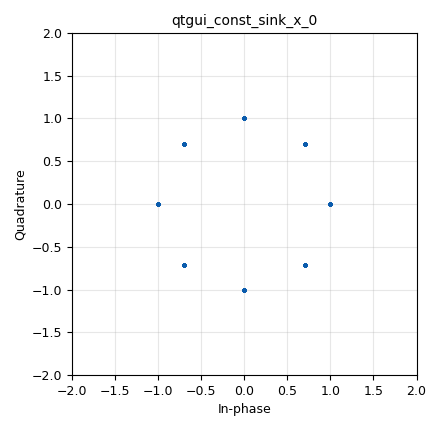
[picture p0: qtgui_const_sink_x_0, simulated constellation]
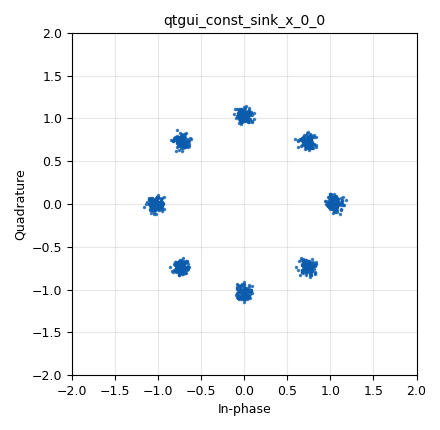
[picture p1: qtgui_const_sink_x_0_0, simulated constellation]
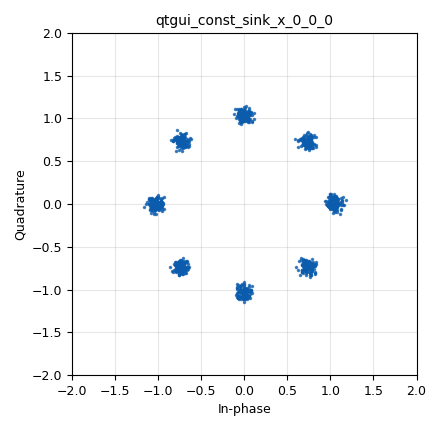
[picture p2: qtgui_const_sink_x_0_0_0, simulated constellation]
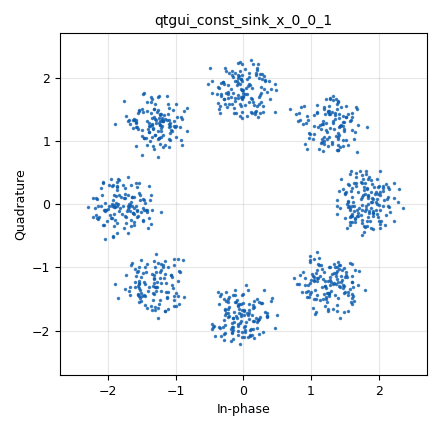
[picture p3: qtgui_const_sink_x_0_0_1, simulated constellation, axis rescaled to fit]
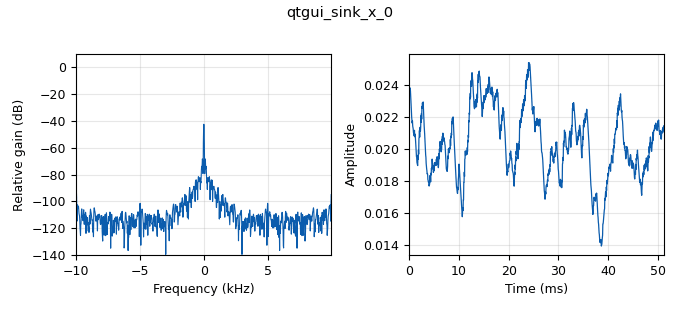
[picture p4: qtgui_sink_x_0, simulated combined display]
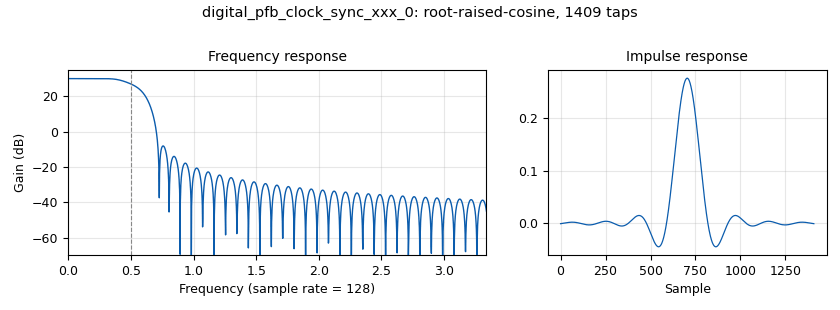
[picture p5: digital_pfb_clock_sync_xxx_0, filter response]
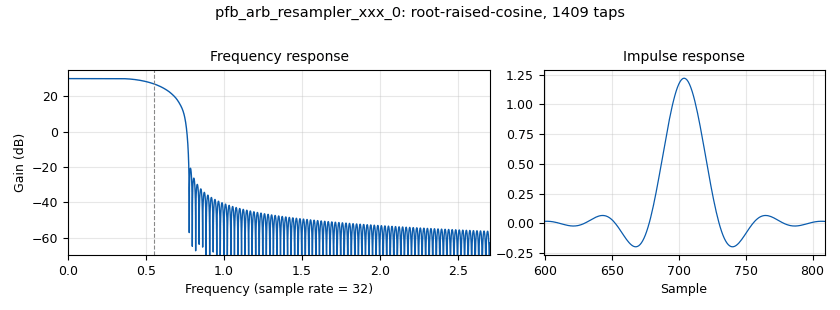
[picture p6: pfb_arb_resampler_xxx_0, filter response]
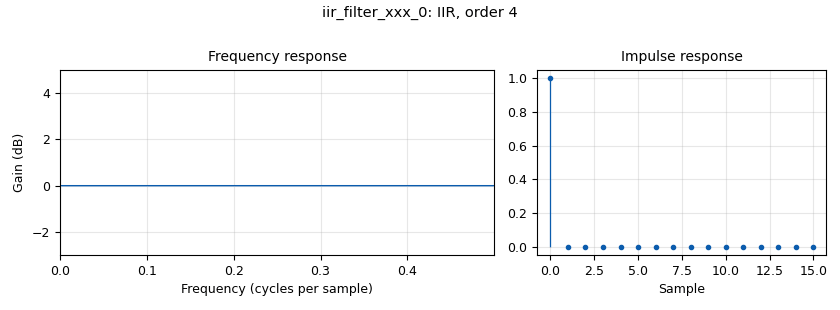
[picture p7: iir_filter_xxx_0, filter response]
options:
  parameters:
    generate_options: qt_gui
    id: top_block
    output_language: python
  states: {}

blocks:
- name: b1
  id: variable_qtgui_range
  parameters:
    label: b1
    orient: Qt.Horizontal
    start: '-1'
    step: '0.01'
    stop: '1'
    value: '0'
  states: {}
- name: b2
  id: variable_qtgui_range
  parameters:
    label: b2
    orient: Qt.Horizontal
    start: '-1'
    step: '0.01'
    stop: '1'
    value: '0'
  states: {}
- name: b3
  id: variable_qtgui_range
  parameters:
    label: b3
    orient: Qt.Horizontal
    start: '-1'
    step: '0.01'
    stop: '1'
    value: '0'
  states: {}
- name: b4
  id: variable_qtgui_range
  parameters:
    label: b4
    orient: Qt.Horizontal
    start: '-1'
    step: '0.01'
    stop: '1'
    value: '0'
  states: {}
- name: const_points
  id: variable
  parameters:
    value: '8'
  states: {}
- name: del_cof
  id: variable_qtgui_range
  parameters:
    label: del_cof
    orient: Qt.Horizontal
    start: '0'
    step: '0.1'
    stop: '0.8'
    value: '0'
  states: {}
- name: excess_bw
  id: variable
  parameters:
    value: '0.4'
  states: {}
- name: fll_ntaps
  id: variable
  parameters:
    value: '55'
  states: {}
- name: freq_bw
  id: variable
  parameters:
    value: 2*pi/100
  states: {}
- name: g
  id: variable_qtgui_range
  parameters:
    label: Cma gain
    orient: Qt.Horizontal
    start: '1e-6'
    step: '1e-6'
    stop: '1e-2'
    value: '1e-6'
  states: {}
- name: nfilts
  id: variable
  parameters:
    value: '32'
  states: {}
- name: ntaps
  id: variable
  parameters:
    value: 11*nfilts*sps
  states: {}
- name: rt
  id: variable
  parameters:
    value: 2**0.5
  states: {}
- name: rx_taps
  id: variable
  parameters:
    value: |-
      filter.firdes.root_raised_cosine(nfilts, nfilts*sps, 1.0,
      excess_bw, ntaps)
  states: {}
- name: samp_rate
  id: variable
  parameters:
    value: 20e3
  states: {}
- name: sps
  id: variable
  parameters:
    value: '4'
  states: {}
- name: timing_bw
  id: variable
  parameters:
    value: 2*pi/100
  states: {}
- name: tx_taps
  id: variable
  parameters:
    value: firdes.root_raised_cosine (nfilts, nfilts,1.1, 0.4, ntaps)
  states: {}
- name: analog_noise_source_x_0
  id: analog_noise_source_x
  parameters:
    amp: '0.05'
    noise_type: analog.GR_GAUSSIAN
    seed: '0'
    type: complex
  states: {}
- name: analog_random_source_x_0
  id: analog_random_source_x
  parameters:
    max: const_points
    min: '0'
    num_samps: '1000'
    repeat: 'True'
    type: byte
  states: {}
- name: blocks_abs_xx_0
  id: blocks_abs_xx
  parameters:
    type: float
  states: {}
- name: blocks_add_const_vxx_0
  id: blocks_add_const_vxx
  parameters:
    const: '-1'
    type: float
  states: {}
- name: blocks_add_xx_0
  id: blocks_add_xx
  parameters:
    type: complex
  states: {}
- name: blocks_add_xx_0_0
  id: blocks_add_xx
  parameters:
    type: complex
  states: {}
- name: blocks_complex_to_mag_squared_0
  id: blocks_complex_to_mag_squared
  parameters: {}
  states: {}
- name: blocks_delay_0
  id: blocks_delay
  parameters:
    delay: '4'
    type: complex
  states: {}
- name: blocks_multiply_const_vxx_0
  id: blocks_multiply_const_vxx
  parameters:
    const: del_cof
    type: complex
  states: {}
- name: blocks_throttle_0
  id: blocks_throttle
  parameters:
    samples_per_second: samp_rate
    type: byte
  states: {}
- name: digital
  id: import
  parameters:
    imports: from gnuradio import digital
  states: {}
- name: digital_chunks_to_symbols_xx_0
  id: digital_chunks_to_symbols_xx
  parameters:
    dimension: '1'
    in_type: byte
    out_type: complex
    symbol_table: ((1), ((1+1j)/rt), (1j), ((-1+1j)/rt), -1, (-1-1j)/rt, -1j, (1-1j)/rt)
  states: {}
- name: digital_cma_equalizer_cc_0_0
  id: digital_cma_equalizer_cc
  parameters:
    modulus: '4'
    mu: g
    num_taps: '16'
    sps: sps
  states: {}
- name: digital_pfb_clock_sync_xxx_0
  id: digital_pfb_clock_sync_xxx
  parameters:
    filter_size: nfilts
    init_phase: '16'
    loop_bw: timing_bw
    max_dev: '1.5'
    osps: '1'
    sps: sps
    taps: rx_taps
    type: ccf
  states: {}
- name: digital_pfb_clock_sync_xxx_0_0
  id: digital_pfb_clock_sync_xxx
  parameters:
    filter_size: nfilts
    init_phase: '16'
    loop_bw: timing_bw
    max_dev: '1.5'
    osps: '1'
    sps: sps
    taps: rx_taps
    type: ccf
  states: {}
- name: filt
  id: import
  parameters:
    imports: from gnuradio import filter
  states: {}
- name: iir_filter_xxx_0
  id: iir_filter_xxx
  parameters:
    fbtaps: '1'
    fftaps: '[1, b1, b2, b3, b4]'
    type: ccf
  states: {}
- name: iir_filter_xxx_1
  id: iir_filter_xxx
  parameters:
    fbtaps: '[1, 0.98]'
    fftaps: '0.001'
    type: ffd
  states: {}
- name: pfb_arb_resampler_xxx_0
  id: pfb_arb_resampler_xxx
  parameters:
    atten: '100'
    nfilts: '32'
    rrate: sps
    taps: tx_taps
    type: ccf
  states: {}
- name: pi
  id: import
  parameters:
    imports: from math import pi
  states: {}
- name: qtgui_const_sink_x_0
  id: qtgui_const_sink_x
  parameters:
    gui_hint: tab@0
    size: '1024'
    type: complex
    update_time: '0.010'
  states: {}
- name: qtgui_const_sink_x_0_0
  id: qtgui_const_sink_x
  parameters:
    gui_hint: tab@1
    size: '1024'
    type: complex
    update_time: '0.010'
  states: {}
- name: qtgui_const_sink_x_0_0_0
  id: qtgui_const_sink_x
  parameters:
    gui_hint: tab@2
    size: '1024'
    type: complex
    update_time: '0.010'
  states: {}
- name: qtgui_const_sink_x_0_0_1
  id: qtgui_const_sink_x
  parameters:
    gui_hint: tab@4
    size: '1024'
    type: complex
    update_time: '0.010'
  states: {}
- name: qtgui_sink_x_0
  id: qtgui_sink_x
  parameters:
    bw: samp_rate
    fc: '0'
    fftsize: '1024'
    gui_hint: tab@3
    showports: 'True'
    type: float
    wintype: firdes.WIN_BLACKMAN_hARRIS
  states: {}
- name: tab
  id: qtgui_tab_widget
  parameters:
    label0: XY ideal
    label1: XY noise + multipath
    label2: Tuning using 4-tap equalizer
    label3: Error plot
    label4: CMA tuning
    num_tabs: '5'
  states: {}

connections:
- [analog_noise_source_x_0, '0', blocks_add_xx_0_0, '1']
- [analog_random_source_x_0, '0', blocks_throttle_0, '0']
- [blocks_abs_xx_0, '0', iir_filter_xxx_1, '0']
- [blocks_add_const_vxx_0, '0', blocks_abs_xx_0, '0']
- [blocks_add_xx_0, '0', digital_cma_equalizer_cc_0_0, '0']
- [blocks_add_xx_0, '0', digital_pfb_clock_sync_xxx_0_0, '0']
- [blocks_add_xx_0, '0', iir_filter_xxx_0, '0']
- [blocks_add_xx_0_0, '0', blocks_add_xx_0, '0']
- [blocks_add_xx_0_0, '0', blocks_delay_0, '0']
- [blocks_complex_to_mag_squared_0, '0', blocks_add_const_vxx_0, '0']
- [blocks_delay_0, '0', blocks_multiply_const_vxx_0, '0']
- [blocks_multiply_const_vxx_0, '0', blocks_add_xx_0, '1']
- [blocks_throttle_0, '0', digital_chunks_to_symbols_xx_0, '0']
- [digital_chunks_to_symbols_xx_0, '0', pfb_arb_resampler_xxx_0, '0']
- [digital_chunks_to_symbols_xx_0, '0', qtgui_const_sink_x_0, '0']
- [digital_cma_equalizer_cc_0_0, '0', qtgui_const_sink_x_0_0_1, '0']
- [digital_pfb_clock_sync_xxx_0, '0', qtgui_const_sink_x_0_0_0, '0']
- [digital_pfb_clock_sync_xxx_0_0, '0', qtgui_const_sink_x_0_0, '0']
- [iir_filter_xxx_0, '0', blocks_complex_to_mag_squared_0, '0']
- [iir_filter_xxx_0, '0', digital_pfb_clock_sync_xxx_0, '0']
- [iir_filter_xxx_1, '0', qtgui_sink_x_0, '0']
- [pfb_arb_resampler_xxx_0, '0', blocks_add_xx_0_0, '0']

metadata:
  file_format: 1
